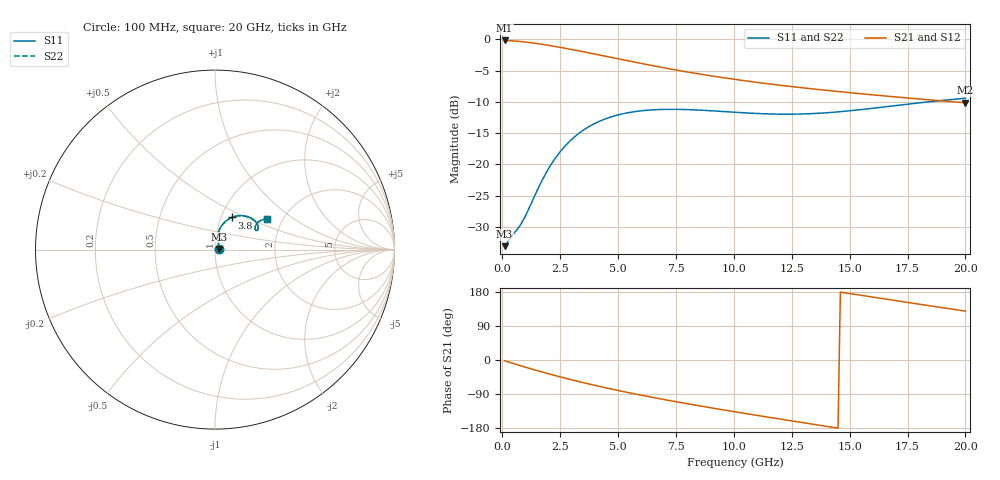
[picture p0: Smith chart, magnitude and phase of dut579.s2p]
! Touchstone file exported from HFSS 2024.1.0
!  File:  C:/UserFiles/LocalFiles/RDL_TSV_Batchsim/temp_RDL_TSV_579_1779756464.aedt
!  Generated:  09:04:01 AM May 26, 2026
!  Design:  RDL_TSV
!  Project:  temp_RDL_TSV_579_1779756464
!  Setup:  Setup1
!  Solution:  Sweep
! Variables:
!  dtsv = 9.59um
!  hbump = 3um
!  htsv = 62.37um
!  ldown = 694.24um
!  lrdl = 359.43um
!  p = 40
!  p1 = 51.51um
!  rhole = 10um
!  subl = 3520.44um
!  t = 450um
!  tdown = 2.82um
!  trdl = 2.09um
!  viad = 10um
!  wdown = 23.92um
!  wrdl = 23.58um
!  xbump = 18um
# GHz S MA R 50.000000
! Terminal data exported
! Port[1] = TM1_1_T1
! Port[2] = TM1_4_T1
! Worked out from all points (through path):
!   200 points, 100 MHz to 20 GHz, reference 50 ohm
!   highest |S21| = -0.19 dB at 100 MHz (marker M1); lowest = -10.2 dB at 20 GHz (marker M2)
!   group delay of S21, straight-line fit = 30.4 ps
!   lowest |S11| = -33.1 dB at 100 MHz (marker M3), VSWR 1.05, Z = 52.2 + j0.404 ohm
!   |S11| at or under -10 dB: start of sweep to 18.42 GHz
!   |S22| runs from -33.1 to -9.4 dB; largest |S21 - S12| = 1.4e-14
!   S11 on the Smith chart (normalised r, x): 100 MHz: 1.04, +0.01; 3.8 GHz: 1.13, +0.42; 20 GHz: 1.67, +0.64
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0.1  0.02216 10.0  0.9778 -2.0  0.9778 -2.0  0.02216 10.0
! Gamma 0 0 0 0
! Port Impedance 50 0 50 0
0.5  0.02794 36.4  0.9687 -9.8  0.9687 -9.8  0.02795 36.4
0.9  0.03569 57.7  0.9539 -17.2  0.9539 -17.2  0.0357 57.6
1.4  0.05611 75.0  0.9292 -26.2  0.9292 -26.2  0.05606 74.9
1.8  0.07959 79.1  0.906 -33.1  0.906 -33.1  0.07948 79.0
2.2  0.106 78.4  0.8808 -39.8  0.8808 -39.8  0.1058 78.3
2.6  0.1328 75.3  0.8546 -46.2  0.8546 -46.2  0.1325 75.3
3  0.1585 71.2  0.8278 -52.4  0.8278 -52.4  0.1582 71.2
3.5  0.1876 65.6  0.7941 -59.9  0.7941 -59.9  0.1872 65.5
3.8  0.203 62.1  0.7741 -64.2  0.7741 -64.2  0.2026 62.0
4.5  0.2326 54.4  0.7286 -73.9  0.7286 -73.9  0.232 54.3
5.3  0.2557 46.5  0.6797 -84.3  0.6797 -84.3  0.255 46.5
6  0.2678 40.7  0.6403 -92.9  0.6403 -92.9  0.267 40.6
6.8  0.2743 35.1  0.5996 -102.3  0.5996 -102.3  0.2735 35.1
8.4  0.2719 27.6  0.5315 -119.8  0.5315 -119.8  0.271 27.6
10.1  0.2603 24.6  0.476 -137.2  0.476 -137.2  0.2594 24.6
11.7  0.2523 25.4  0.4354 -153.0  0.4354 -153.0  0.2514 25.4
13.4  0.2544 28.5  0.4008 -169.4  0.4008 -169.4  0.2536 28.5
15  0.2678 31.2  0.3739 175.4  0.3739 175.4  0.2672 31.3
16.7  0.2906 32.6  0.3494 159.4  0.3494 159.4  0.29 32.6
18.4  0.3159 31.9  0.3281 143.6  0.3281 143.6  0.3154 32.0
20  0.3374 30.0  0.3106 128.9  0.3106 128.9  0.337 30.1
